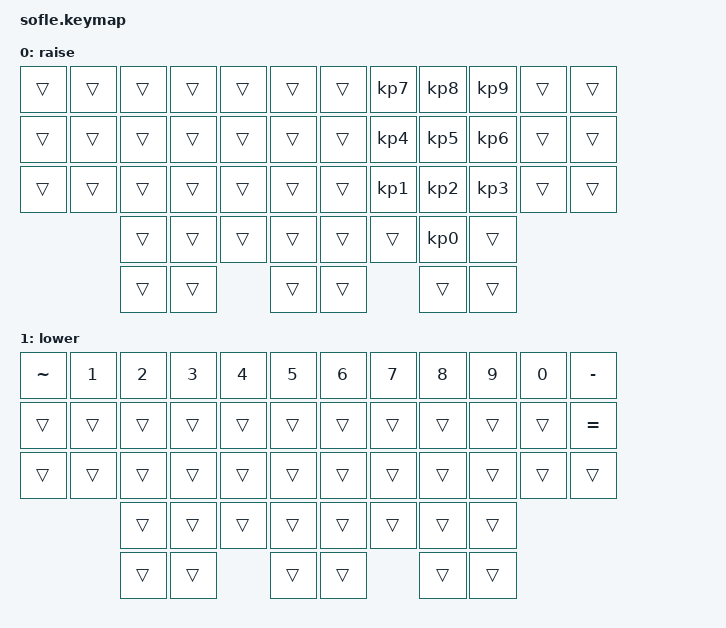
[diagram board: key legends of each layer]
/*
 * Copyright (c) 2020 The ZMK Contributors
 *
 * SPDX-License-Identifier: MIT
 */

#include <behaviors.dtsi>
#include <dt-bindings/zmk/keys.h>
#include <dt-bindings/zmk/bt.h>
#include <dt-bindings/zmk/rgb.h>
#include <dt-bindings/zmk/ext_power.h>

#define BASE 0
#define LOWER 1
#define RAISE 2
#define ADJUST 3

/ {

   // Activate ADJUST layer by pressing raise and lower
    conditional_layers {
        compatible = "zmk,conditional-layers";
        adjust_layer {
            if-layers = <LOWER RAISE>;
            then-layer = <ADJUST>;
        };
    };

    keymap {
        compatible = "zmk,keymap";

        default_layer {
            display-name = "default";
            bbindings = <
                        &kp TAB       &kp Q         &kp W         &kp E         &kp R         &kp T         &kp Y         &kp U         &kp I         &kp O         &kp P         &kp BSLH
                        &lt KLOW CAPS &kp A         &kp S         &kp D         &kp F         &kp G         &kp H         &kp J         &kp K         &kp L         &kp SEMI      &kp SQT
                        &kp LSHFT     &kp Z         &kp X         &kp C         &kp V         &kp B         &kp N         &kp M         &kp COMMA     &kp DOT       &kp FSLH      &kp RSHFT
                                                    &kp LGUI      &kp LBKT      &kp SP        &kp DOWN      &kp UP        &kp BSPC      &kp RBKT      &kp BSLH
                                                    &kp LCTRL     &kp LALT                    &kp HOME      &kp END                     &kp RCTRL     &kp RALT
            >;
        };

        raise_layer {
            display-name = "raise";
            bindings = <
                        &trans        &trans        &trans        &trans        &trans        &trans        &trans        &kp KP_N7     &kp KP_N8     &kp KP_N9        &trans        &trans
                        &trans        &trans        &trans        &trans        &trans        &trans        &trans        &kp KP_N4     &kp KP_N5     &kp KP_N6        &trans        &trans
                        &trans        &trans        &trans        &trans        &trans        &trans        &trans        &kp KP_N1     &kp KP_N2     &kp KP_N3        &trans        &trans
                                                    &trans        &trans        &trans        &trans        &trans        &trans        &kp KP_N0     &trans
                                                    &trans        &trans                      &trans        &trans                      &trans        &trans
            >;
        };

        lower_layer {
            display-name = "lower";
            bindings = <
                        &kp TILDE     &kp N1        &kp N2        &kp N3        &kp N4        &kp N5        &kp N6        &kp N7        &kp N8        &kp N9        &kp N0        &kp MINUS
                        &trans        &trans        &trans        &trans        &trans        &trans        &trans        &trans        &trans        &trans        &trans        &kp EQUAL
                        &trans        &trans        &trans        &trans        &trans        &trans        &trans        &trans        &trans        &trans        &trans        &trans
                                                    &trans        &trans        &trans        &trans        &trans        &trans        &trans        &trans
                                                    &trans        &trans                      &trans        &trans                      &trans        &trans
                                            >;
        };

    };
};
